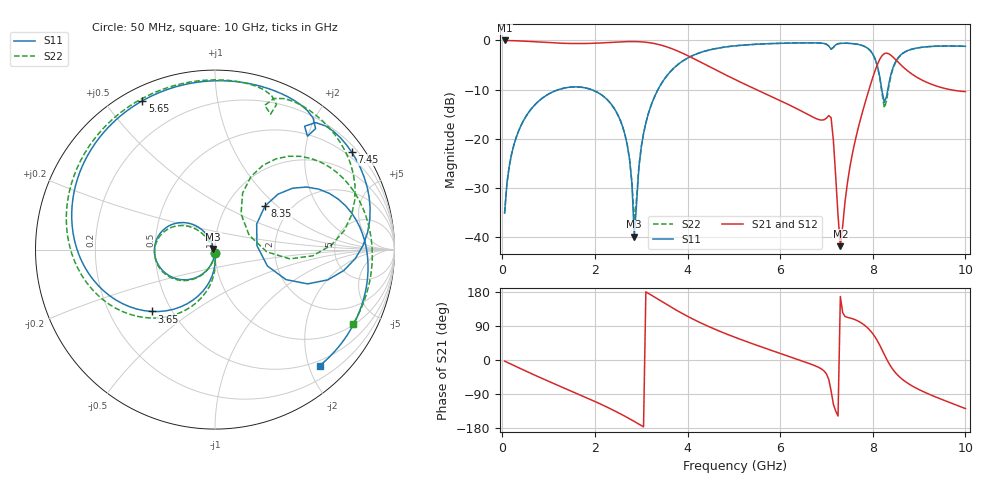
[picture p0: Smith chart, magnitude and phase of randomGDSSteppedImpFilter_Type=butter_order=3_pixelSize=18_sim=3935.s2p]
! freq	dB(S11)	phase(S11)	dB(S12)	phase(S12)
!  dB(S21)	phase(S21)	dB(S22)	phase(S22)
!S-par simulation data
#  GHz  S  DB  R 50
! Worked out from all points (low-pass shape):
!   200 points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, 50 MHz to 10 GHz, reference 50 ohm
!   highest |S21| = 0.00 dB at 50 MHz (marker M1); lowest = -41.8 dB at 7.3 GHz (marker M2)
!   |S21| within 3 dB of the highest: start of sweep to 3.985 GHz; 8.21 GHz to 8.391 GHz (181.1 MHz wide, 2.18 % of centre)
!   lowest |S11| = -39.9 dB at 2.85 GHz (marker M3), VSWR 1.02, Z = 49 + j0.322 ohm
!   |S11| at or under -10 dB: start of sweep to 1.213 GHz; 1.927 GHz to 3.362 GHz (1.434 GHz wide, 54.2 % of centre); 8.195 GHz to 8.325 GHz (129.3 MHz wide, 1.57 % of centre)
!   |S22| runs from -36.7 to -0.5 dB; largest |S21 - S12| = 0
!   S11 on the Smith chart (normalised r, x): 50 MHz: 1.00, -0.04; 3.65 GHz: 0.39, -0.35; 5.65 GHz: 0.06, +0.62; 7.45 GHz: 0.35, +3.09; 8.35 GHz: 1.49, +0.84; 10 GHz: 0.41, -2.18
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0.05  -35.06 -93.0  -0.00 -2.9  -0.00 -2.9  -35.06 -93.0
0.2  -23.12 -102.1  -0.04 -11.6  -0.04 -11.6  -23.12 -101.7
0.5  -15.60 -119.7  -0.16 -28.7  -0.16 -28.7  -15.60 -118.8
1.75  -9.56 172.1  -0.63 -95.9  -0.63 -95.9  -9.56 175.5
2.6  -17.56 123.3  -0.27 -145.2  -0.27 -145.2  -17.56 130.3
2.75  -24.30 115.7  -0.23 -155.2  -0.23 -155.2  -24.24 126.2
2.85  -39.87 161.1  -0.23 -162.1  -0.23 -162.1  -36.73 175.2
3.05  -18.93 -92.8  -0.32 -176.5  -0.32 -176.5  -18.86 -90.7
3.4  -9.33 -117.4  -0.88 157.5  -0.88 157.5  -9.31 -112.4
3.65  -6.13 -135.7  -1.64 139.1  -1.64 139.1  -6.12 -129.7
4.35  -2.24 179.1  -4.73 94.2  -4.73 94.2  -2.23 -172.6
5.05  -1.08 143.1  -8.05 58.7  -8.05 58.7  -1.07 153.6
5.65  -0.70 116.1  -10.69 32.2  -10.69 32.2  -0.69 128.5
6.7  -0.49 69.5  -15.54 -12.6  -15.54 -12.6  -0.49 85.3
7.1  -1.78 50.8  -15.70 -81.4  -15.70 -81.4  -1.77 67.7
7.3  -0.60 44.8  -41.79 167.5  -41.79 167.5  -0.59 62.2
7.45  -0.58 35.5  -29.11 112.6  -29.11 112.6  -0.57 53.1
8.1  -5.18 -20.3  -4.88 50.6  -4.88 50.6  -5.26 -3.6
8.25  -12.59 5.2  -2.67 14.2  -2.67 14.2  -13.71 22.7
8.35  -8.66 41.1  -2.73 -9.1  -2.73 -9.1  -9.10 64.0
8.95  -1.54 2.7  -7.47 -75.1  -7.47 -75.1  -1.55 23.5
10  -1.20 -48.0  -10.39 -128.1  -10.39 -128.1  -1.17 -28.4
